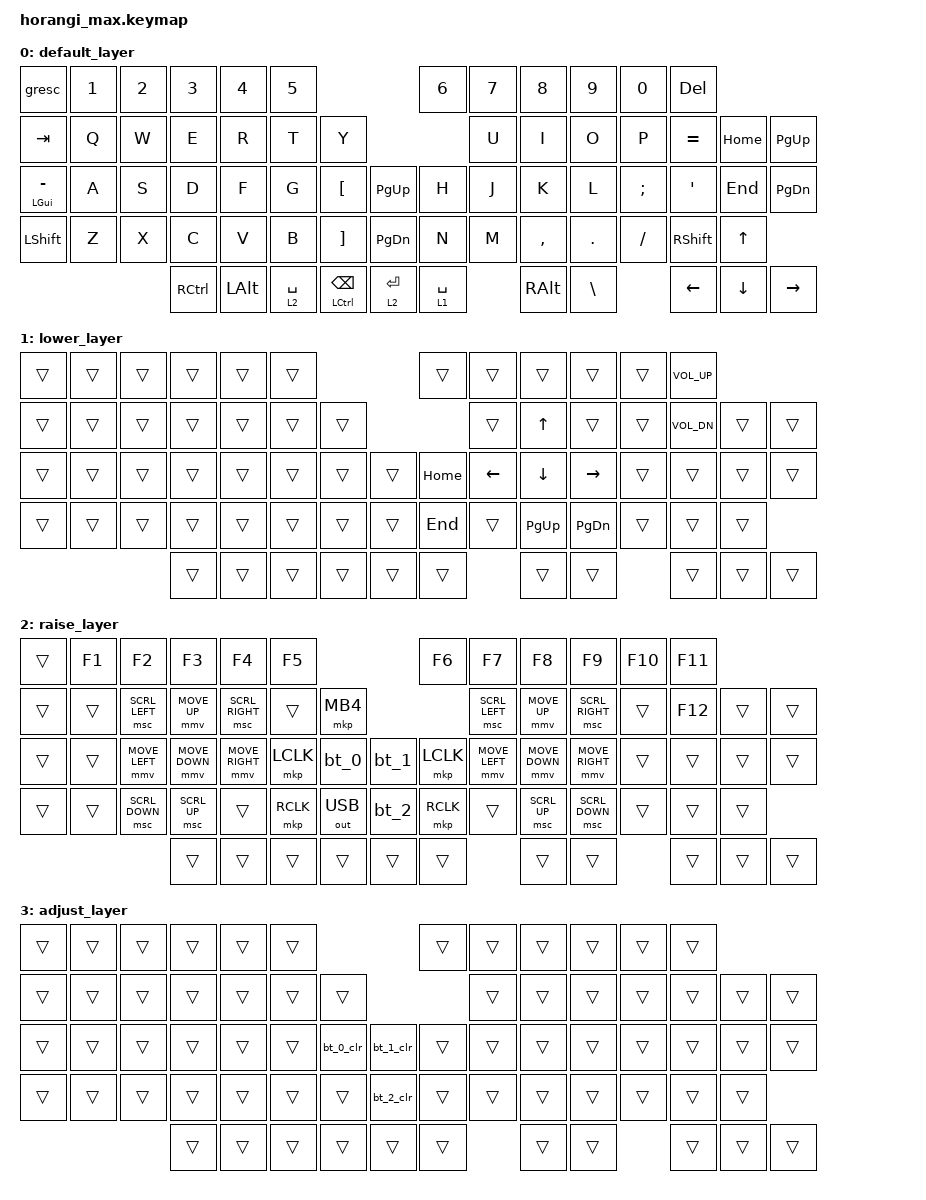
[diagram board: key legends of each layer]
#include <behaviors.dtsi>
#include <dt-bindings/zmk/keys.h>
#include <dt-bindings/zmk/bt.h>
#include <dt-bindings/zmk/ext_power.h>
#include <dt-bindings/zmk/outputs.h>
#include <dt-bindings/zmk/pointing.h>

&mt {
    tapping-term-ms = <175>;
};

&lt {
    tapping-term-ms = <175>;
};

/
{

    leds {
        compatible = "gpio-leds";
        user_led: led_0 {
            gpios = <&gpio0 15 GPIO_ACTIVE_HIGH>;
            label = "User LED";
        };
    };

    aliases {
        indicator-led = &user_led;
    };

    behaviors {
        gresc: grave_escape {
            compatible = "zmk,behavior-mod-morph";
            label = "GRAVE_ESCAPE";
            #binding-cells = <0>;
            bindings = <&kp ESC>, <&kp GRAVE>;
            mods = <(MOD_LGUI|MOD_LSFT|MOD_RGUI|MOD_RSFT|MOD_RALT)>;
            keep-mods = <(MOD_RSFT)>;
        };
        ht_tp: holdtap_tappreferred {
            compatible = "zmk,behavior-hold-tap";
            #binding-cells = <2>;
            flavor = "tap-preferred";
            tapping-term-ms = <175>;
            quick-tap-ms = <155>;
            bindings = <&kp>, <&kp>;
        };
        ht_hp: holdtap_holdpreferred {
            compatible = "zmk,behavior-hold-tap";
            #binding-cells = <2>;
            flavor = "hold-preferred";
            tapping-term-ms = <175>;
            quick-tap-ms = <155>;
            bindings = <&kp>, <&kp>;
        };
        ht_bl: holdtap_balanced {
            compatible = "zmk,behavior-hold-tap";
            #binding-cells = <2>;
            flavor = "balanced";
            tapping-term-ms = <175>;
            quick-tap-ms = <155>;
            bindings = <&kp>, <&kp>;
        };
    };

    macros {
        bt_0: bt_profile_macro_0 {
            label = "BT_0";
            compatible = "zmk,behavior-macro";
            #binding-cells = <0>;
            bindings
                = <&out OUT_BLE>
                , <&bt BT_SEL 0>;
        };

        bt_1: bt_profile_macro_1 {
            label = "BT_1";
            compatible = "zmk,behavior-macro";
            #binding-cells = <0>;
            bindings
                = <&out OUT_BLE>
                , <&bt BT_SEL 1>;
        };
        
        bt_2: bt_profile_macro_2 {
            label = "BT_2";
            compatible = "zmk,behavior-macro";
            #binding-cells = <0>;
            bindings
                = <&out OUT_BLE>
                , <&bt BT_SEL 2>;
        };

        select_usb: usb_profile_macro {
            label = "SELECT_USB";
            compatible = "zmk,behavior-macro";
            #binding-cells = <0>;
            bindings
                = <&out OUT_USB>
                , <&macro_wait_time 1000>
                , <&bt BT_DISC 0>
                , <&macro_wait_time 1000>
                , <&bt BT_DISC 1>
                , <&macro_wait_time 1000>
                , <&bt BT_DISC 2>;
        };

        bt_0_clr: bt_profile_macro_0_clr {
            label = "BT_0_CLR";
            compatible = "zmk,behavior-macro";
            #binding-cells = <0>;
            bindings
                = <&out OUT_BLE>
                , <&bt BT_SEL 0>
                , <&macro_wait_time 1000>
                , <&bt BT_CLR>;
        };

        bt_1_clr: bt_profile_macro_1_clr {
            label = "BT_1_CLR";
            compatible = "zmk,behavior-macro";
            #binding-cells = <0>;
            bindings
                = <&out OUT_BLE>
                , <&bt BT_SEL 1>
                , <&macro_wait_time 1000>
                , <&bt BT_CLR>;
        };

        bt_2_clr: bt_profile_macro_2_clr {
            label = "BT_2_CLR";
            compatible = "zmk,behavior-macro";
            #binding-cells = <0>;
            bindings
                = <&out OUT_BLE>
                , <&bt BT_SEL 2>
                , <&macro_wait_time 1000>
                , <&bt BT_CLR>;
        };
    };

    conditional_layers {
        compatible = "zmk,conditional-layers";
        tri_layer {
            if-layers = <1 2>;
            then-layer = <3>;
        };
    };

    keymap {
        compatible = "zmk,keymap";
 
        default_layer {
            bindings = <
&gresc      &kp N1  &kp N2   &kp N3   &kp N4      &kp N5                                &kp N6  &kp N7   &kp N8     &kp N9  &kp N0      &kp DEL
&kp TAB     &kp Q   &kp W    &kp E    &kp R       &kp T                                 &kp Y   &kp U    &kp I      &kp O   &kp P       &kp EQUAL   &kp HOME &kp PG_UP
&mt LGUI MINUS &kp A &kp S   &kp D    &kp F       &kp G    &kp LBKT           &kp PG_UP &kp H   &kp J    &kp K      &kp L   &kp SEMI    &kp SQT     &kp END  &kp PG_DN
&kp LSHFT   &kp Z   &kp X    &kp C    &kp V       &kp B    &kp RBKT           &kp PG_DN &kp N   &kp M    &kp COMMA  &kp DOT &kp FSLH    &kp RSHFT   &kp UP
                             &kp RCTRL &kp LALT &lt 2 SPACE &ht_hp LCTRL BSPC &lt 2 ENTER  &lt 1 SPACE &kp RALT  &kp BSLH                 &kp LEFT    &kp DOWN &kp RIGHT
            >;
        };

        lower_layer {
            bindings = <
&trans      &trans  &trans   &trans   &trans      &trans                                &trans  &trans   &trans     &trans  &trans      &kp C_VOL_UP
&trans      &trans  &trans   &trans   &trans      &trans                                &trans  &trans   &kp UP     &trans  &trans      &kp C_VOL_DN &trans   &trans
&trans      &trans  &trans   &trans   &trans      &trans   &trans           &trans      &kp HOME &kp LEFT &kp DOWN  &kp RIGHT &trans    &trans      &trans   &trans
&trans      &trans  &trans   &trans   &trans      &trans   &trans           &trans      &kp END &trans   &kp PG_UP  &kp PG_DN &trans    &trans      &trans
                             &trans   &trans      &trans   &trans           &trans      &trans  &trans   &trans                              &trans &trans   &trans
            >;
        };

        raise_layer {
            bindings = <
&trans      &kp F1  &kp F2   &kp F3   &kp F4      &kp F5                                &kp F6  &kp F7   &kp F8     &kp F9  &kp F10     &kp F11
&trans      &trans  &msc SCRL_LEFT   &mmv MOVE_UP   &msc SCRL_RIGHT   &trans                         &mkp MB4  &msc SCRL_LEFT   &mmv MOVE_UP   &msc SCRL_RIGHT  &trans      &kp F12     &trans   &trans
&trans      &trans  &mmv MOVE_LEFT &mmv MOVE_DOWN &mmv MOVE_RIGHT   &mkp LCLK &bt_0      &bt_1       &mkp LCLK  &mmv MOVE_LEFT &mmv MOVE_DOWN &mmv MOVE_RIGHT  &trans      &trans      &trans   &trans
&trans      &trans  &msc SCRL_DOWN   &msc SCRL_UP   &trans    &mkp RCLK &out OUT_USB     &bt_2       &mkp RCLK  &trans   &msc SCRL_UP  &msc SCRL_DOWN  &trans      &trans      &trans
                             &trans   &trans      &trans   &trans           &trans      &trans  &trans   &trans                         &trans      &trans   &trans
            >;
        };

        adjust_layer {
            bindings = <
&trans      &trans  &trans   &trans   &trans      &trans                                &trans  &trans   &trans     &trans  &trans      &trans
&trans      &trans  &trans   &trans   &trans      &trans                                &trans  &trans   &trans     &trans  &trans      &trans      &trans   &trans
&trans      &trans  &trans   &trans   &trans      &trans   &bt_0_clr        &bt_1_clr   &trans  &trans   &trans     &trans  &trans      &trans      &trans   &trans
&trans      &trans  &trans   &trans   &trans      &trans   &trans           &bt_2_clr   &trans  &trans   &trans     &trans  &trans      &trans      &trans
                             &trans   &trans      &trans   &trans           &trans      &trans  &trans   &trans                              &trans &trans   &trans
            >;

        };
        
    };
};
